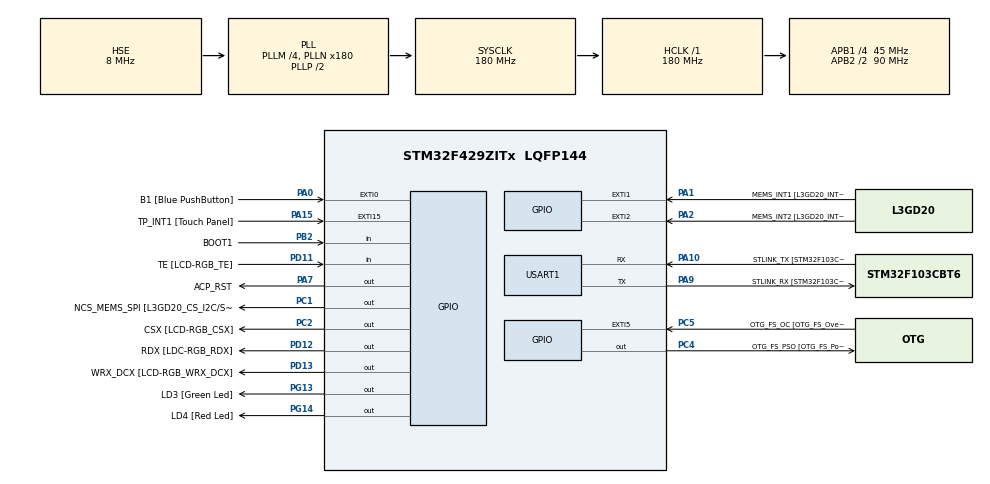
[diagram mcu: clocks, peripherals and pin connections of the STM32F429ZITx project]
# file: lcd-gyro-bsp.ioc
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Mcu.Family=STM32F4
Mcu.Name=STM32F429ZITx
Mcu.Package=LQFP144
NVIC.EXTI0_IRQn=true\:3\:0\:true\:false\:true\:true\:true\:true
NVIC.PriorityGroup=NVIC_PRIORITYGROUP_4
NVIC.TIM3_IRQn=true\:2\:0\:true\:false\:true\:true\:true\:true
NVIC.USART1_IRQn=true\:1\:0\:true\:false\:true\:true\:true\:true
PA0/WKUP.GPIO_Label=B1 [Blue PushButton]
PA0/WKUP.GPIO_ModeDefaultEXTI=GPIO_MODE_IT_RISING
PA0/WKUP.GPIO_PuPd=GPIO_NOPULL
PA0/WKUP.Signal=GPXTI0
PA1.GPIO_Label=MEMS_INT1 [L3GD20_INT1]
PA1.GPIO_ModeDefaultEXTI=GPIO_MODE_EVT_RISING
PA1.GPIO_PuPd=GPIO_NOPULL
PA1.Signal=GPXTI1
PA10.GPIO_Label=STLINK_TX [STM32F103CBT6_PA2]
PA10.Mode=Asynchronous
PA10.Signal=USART1_RX
PA11.GPIO_Label=R4
PA11.GPIO_Mode=GPIO_MODE_AF_PP
PA11.GPIO_PuPd=GPIO_NOPULL
PA11.GPIO_Speed=GPIO_SPEED_FREQ_LOW
PA11.Signal=LTDC_R4
PA12.GPIO_Label=R5
PA12.GPIO_Mode=GPIO_MODE_AF_PP
PA12.GPIO_PuPd=GPIO_NOPULL
PA12.GPIO_Speed=GPIO_SPEED_FREQ_LOW
PA12.Signal=LTDC_R5
PA13.GPIO_Label=SWDIO
PA13.Mode=Serial_Wire
PA13.Signal=SYS_JTMS-SWDIO
PA14.GPIO_Label=SWCLK
PA14.Mode=Serial_Wire
PA14.Signal=SYS_JTCK-SWCLK
PA15.GPIO_Label=TP_INT1 [Touch Panel]
PA15.GPIO_ModeDefaultEXTI=GPIO_MODE_EVT_RISING
PA15.GPIO_PuPd=GPIO_NOPULL
PA15.Signal=GPXTI15
PA2.GPIO_Label=MEMS_INT2 [L3GD20_INT2]
PA2.GPIO_ModeDefaultEXTI=GPIO_MODE_EVT_RISING
PA2.GPIO_PuPd=GPIO_NOPULL
PA2.Signal=GPXTI2
PA3.GPIO_Label=B5
PA3.GPIO_Mode=GPIO_MODE_AF_PP
PA3.GPIO_PuPd=GPIO_NOPULL
PA3.GPIO_Speed=GPIO_SPEED_FREQ_LOW
PA3.Signal=LTDC_B5
PA4.GPIO_Label=VSYNC
PA4.GPIO_Mode=GPIO_MODE_AF_PP
PA4.GPIO_PuPd=GPIO_NOPULL
PA4.GPIO_Speed=GPIO_SPEED_FREQ_LOW
PA4.Signal=LTDC_VSYNC
PA6.GPIO_Label=G2
PA6.GPIO_Mode=GPIO_MODE_AF_PP
PA6.GPIO_PuPd=GPIO_NOPULL
PA6.GPIO_Speed=GPIO_SPEED_FREQ_LOW
PA6.Signal=LTDC_G2
PA7.GPIO_Label=ACP_RST
PA7.GPIO_Mode=GPIO_MODE_OUTPUT_PP
PA7.GPIO_PuPd=GPIO_NOPULL
PA7.GPIO_Speed=GPIO_SPEED_FREQ_LOW
PA7.Signal=GPIO_Output
PA8.GPIO_Label=I2C3_SCL [ACP/RF_SCL]
PA8.GPIO_Mode=GPIO_MODE_AF_OD
PA8.GPIO_PuPd=GPIO_NOPULL
PA8.GPIO_Speed=GPIO_SPEED_FREQ_LOW
PA8.Signal=I2C3_SCL
PA9.GPIO_Label=STLINK_RX [STM32F103CBT6_PA3]
PA9.Mode=Asynchronous
PA9.Signal=USART1_TX
PB0.GPIO_Label=R3
PB0.GPIO_Mode=GPIO_MODE_AF_PP
PB0.GPIO_PuPd=GPIO_NOPULL
PB0.GPIO_Speed=GPIO_SPEED_FREQ_LOW
PB0.Signal=LTDC_R3
PB1.GPIO_Label=R6
PB1.GPIO_Mode=GPIO_MODE_AF_PP
PB1.GPIO_PuPd=GPIO_NOPULL
PB1.GPIO_Speed=GPIO_SPEED_FREQ_LOW
PB1.Signal=LTDC_R6
PB10.GPIO_Label=G4
PB10.GPIO_Mode=GPIO_MODE_AF_PP
PB10.GPIO_PuPd=GPIO_NOPULL
PB10.GPIO_Speed=GPIO_SPEED_FREQ_LOW
PB10.Signal=LTDC_G4
PB11.GPIO_Label=G5
PB11.GPIO_Mode=GPIO_MODE_AF_PP
PB11.GPIO_PuPd=GPIO_NOPULL
PB11.GPIO_Speed=GPIO_SPEED_FREQ_LOW
PB11.Signal=LTDC_G5
PB12.GPIO_Label=OTG_HS_ID
PB12.GPIO_Mode=GPIO_MODE_AF_PP
PB12.GPIO_PuPd=GPIO_NOPULL
PB12.GPIO_Speed=GPIO_SPEED_FREQ_LOW
PB12.Signal=USB_OTG_HS_ID
PB13.GPIO_Label=VBUS_HS
PB13.GPIO_Mode=GPIO_MODE_INPUT
PB13.GPIO_PuPd=GPIO_NOPULL
PB13.Signal=USB_OTG_HS_VBUS
PB14.GPIO_Label=OTG_HS_DM
PB14.GPIO_Mode=GPIO_MODE_AF_PP
PB14.GPIO_PuPd=GPIO_NOPULL
PB14.GPIO_Speed=GPIO_SPEED_FREQ_LOW
PB14.Signal=USB_OTG_HS_DM
PB15.GPIO_Label=OTG_HS_DP
PB15.GPIO_Mode=GPIO_MODE_AF_PP
PB15.GPIO_PuPd=GPIO_NOPULL
PB15.GPIO_Speed=GPIO_SPEED_FREQ_LOW
PB15.Signal=USB_OTG_HS_DP
PB2/BOOT1.GPIO_Label=BOOT1
PB2/BOOT1.GPIO_Mode=GPIO_MODE_INPUT
PB2/BOOT1.GPIO_PuPd=GPIO_NOPULL
PB2/BOOT1.Signal=GPIO_Input
PB5.GPIO_Label=SDCKE1
PB5.GPIO_Mode=GPIO_MODE_AF_PP
PB5.GPIO_PuPd=GPIO_NOPULL
PB5.GPIO_Speed=GPIO_SPEED_FREQ_VERY_HIGH
PB5.Signal=FMC_SDCKE1
PB6.GPIO_Label=SDNE1 [SDRAM_CS]
PB6.GPIO_Mode=GPIO_MODE_AF_PP
PB6.GPIO_PuPd=GPIO_NOPULL
PB6.GPIO_Speed=GPIO_SPEED_FREQ_VERY_HIGH
PB6.Signal=FMC_SDNE1
PB8.GPIO_Label=B6
PB8.GPIO_Mode=GPIO_MODE_AF_PP
PB8.GPIO_PuPd=GPIO_NOPULL
PB8.GPIO_Speed=GPIO_SPEED_FREQ_LOW
PB8.Signal=LTDC_B6
PB9.GPIO_Label=B7
PB9.GPIO_Mode=GPIO_MODE_AF_PP
PB9.GPIO_PuPd=GPIO_NOPULL
PB9.GPIO_Speed=GPIO_SPEED_FREQ_LOW
PB9.Signal=LTDC_B7
PC0.GPIO_Label=SDNWE
PC0.GPIO_Mode=GPIO_MODE_AF_PP
PC0.GPIO_PuPd=GPIO_NOPULL
PC0.GPIO_Speed=GPIO_SPEED_FREQ_VERY_HIGH
PC0.Signal=FMC_SDNWE
PC1.GPIO_Label=NCS_MEMS_SPI [L3GD20_CS_I2C/SPI]
PC1.GPIO_Mode=GPIO_MODE_OUTPUT_PP
PC1.GPIO_PuPd=GPIO_NOPULL
PC1.GPIO_Speed=GPIO_SPEED_FREQ_LOW
PC1.Signal=GPIO_Output
PC10.GPIO_Label=R2
PC10.GPIO_Mode=GPIO_MODE_AF_PP
PC10.GPIO_PuPd=GPIO_NOPULL
PC10.GPIO_Speed=GPIO_SPEED_FREQ_LOW
PC10.Signal=LTDC_R2
PC14/OSC32_IN.GPIO_Label=PC14-OSC32_IN
PC14/OSC32_IN.Signal=RCC_OSC32_IN
PC15/OSC32_OUT.GPIO_Label=PC15-OSC32_OUT
PC15/OSC32_OUT.Signal=RCC_OSC32_OUT
PC2.GPIO_Label=CSX [LCD-RGB_CSX]
PC2.GPIO_Mode=GPIO_MODE_OUTPUT_PP
PC2.GPIO_PuPd=GPIO_NOPULL
PC2.GPIO_Speed=GPIO_SPEED_FREQ_LOW
PC2.Signal=GPIO_Output
PC4.GPIO_Label=OTG_FS_PSO [OTG_FS_PowerSwitchOn]
PC4.GPIO_Mode=GPIO_MODE_OUTPUT_PP
PC4.GPIO_PuPd=GPIO_NOPULL
PC4.GPIO_Speed=GPIO_SPEED_FREQ_LOW
PC4.Signal=GPIO_Output
PC5.GPIO_Label=OTG_FS_OC [OTG_FS_OverCurrent]
PC5.GPIO_ModeDefaultEXTI=GPIO_MODE_EVT_RISING
PC5.Signal=GPXTI5
PC6.GPIO_Label=HSYNC
PC6.GPIO_Mode=GPIO_MODE_AF_PP
PC6.GPIO_PuPd=GPIO_NOPULL
PC6.GPIO_Speed=GPIO_SPEED_FREQ_LOW
PC6.Signal=LTDC_HSYNC
PC7.GPIO_Label=G6
PC7.GPIO_Mode=GPIO_MODE_AF_PP
PC7.GPIO_PuPd=GPIO_NOPULL
PC7.GPIO_Speed=GPIO_SPEED_FREQ_LOW
PC7.Signal=LTDC_G6
PC9.GPIO_Label=I2C3_SDA [ACP/RF_SDA]
PC9.GPIO_Mode=GPIO_MODE_AF_OD
PC9.GPIO_PuPd=GPIO_NOPULL
PC9.GPIO_Speed=GPIO_SPEED_FREQ_LOW
PC9.Signal=I2C3_SDA
PD0.GPIO_Label=D2
PD0.GPIO_Mode=GPIO_MODE_AF_PP
PD0.GPIO_PuPd=GPIO_NOPULL
PD0.GPIO_Speed=GPIO_SPEED_FREQ_VERY_HIGH
PD0.Signal=FMC_D2_DA2
PD1.GPIO_Label=D3
PD1.GPIO_Mode=GPIO_MODE_AF_PP
PD1.GPIO_PuPd=GPIO_NOPULL
PD1.GPIO_Speed=GPIO_SPEED_FREQ_VERY_HIGH
PD1.Signal=FMC_D3_DA3
PD10.GPIO_Label=D15
PD10.GPIO_Mode=GPIO_MODE_AF_PP
PD10.GPIO_PuPd=GPIO_NOPULL
PD10.GPIO_Speed=GPIO_SPEED_FREQ_VERY_HIGH
PD10.Signal=FMC_D15_DA15
PD11.GPIO_Label=TE [LCD-RGB_TE]
PD11.GPIO_Mode=GPIO_MODE_INPUT
PD11.GPIO_PuPd=GPIO_NOPULL
PD11.Signal=GPIO_Input
PD12.GPIO_Label=RDX [LDC-RGB_RDX]
PD12.GPIO_Mode=GPIO_MODE_OUTPUT_PP
PD12.GPIO_PuPd=GPIO_NOPULL
PD12.GPIO_Speed=GPIO_SPEED_FREQ_LOW
PD12.Signal=GPIO_Output
PD13.GPIO_Label=WRX_DCX [LCD-RGB_WRX_DCX]
PD13.GPIO_Mode=GPIO_MODE_OUTPUT_PP
PD13.GPIO_PuPd=GPIO_NOPULL
PD13.GPIO_Speed=GPIO_SPEED_FREQ_LOW
PD13.Signal=GPIO_Output
PD14.GPIO_Label=D0
PD14.GPIO_Mode=GPIO_MODE_AF_PP
PD14.GPIO_PuPd=GPIO_NOPULL
PD14.GPIO_Speed=GPIO_SPEED_FREQ_VERY_HIGH
PD14.Signal=FMC_D0_DA0
PD15.GPIO_Label=D1
PD15.GPIO_Mode=GPIO_MODE_AF_PP
PD15.GPIO_PuPd=GPIO_NOPULL
PD15.GPIO_Speed=GPIO_SPEED_FREQ_VERY_HIGH
PD15.Signal=FMC_D1_DA1
PD3.GPIO_Label=G7
PD3.GPIO_Mode=GPIO_MODE_AF_PP
PD3.GPIO_PuPd=GPIO_NOPULL
PD3.GPIO_Speed=GPIO_SPEED_FREQ_LOW
PD3.Signal=LTDC_G7
PD6.GPIO_Label=B2
PD6.GPIO_Mode=GPIO_MODE_AF_PP
PD6.GPIO_PuPd=GPIO_NOPULL
PD6.GPIO_Speed=GPIO_SPEED_FREQ_LOW
PD6.Signal=LTDC_B2
PD8.GPIO_Label=D13
PD8.GPIO_Mode=GPIO_MODE_AF_PP
PD8.GPIO_PuPd=GPIO_NOPULL
PD8.GPIO_Speed=GPIO_SPEED_FREQ_VERY_HIGH
PD8.Signal=FMC_D13_DA13
PD9.GPIO_Label=D14
PD9.GPIO_Mode=GPIO_MODE_AF_PP
PD9.GPIO_PuPd=GPIO_NOPULL
PD9.GPIO_Speed=GPIO_SPEED_FREQ_VERY_HIGH
PD9.Signal=FMC_D14_DA14
PE0.GPIO_Label=NBL0 [SDRAM_LDQM]
PE0.GPIO_Mode=GPIO_MODE_AF_PP
PE0.GPIO_PuPd=GPIO_NOPULL
PE0.GPIO_Speed=GPIO_SPEED_FREQ_VERY_HIGH
PE0.Signal=FMC_NBL0
PE1.GPIO_Label=NBL1 [SDRAM_UDQM]
PE1.GPIO_Mode=GPIO_MODE_AF_PP
PE1.GPIO_PuPd=GPIO_NOPULL
PE1.GPIO_Speed=GPIO_SPEED_FREQ_VERY_HIGH
PE1.Signal=FMC_NBL1
PE10.GPIO_Label=D7
PE10.GPIO_Mode=GPIO_MODE_AF_PP
PE10.GPIO_PuPd=GPIO_NOPULL
PE10.GPIO_Speed=GPIO_SPEED_FREQ_VERY_HIGH
PE10.Signal=FMC_D7_DA7
PE11.GPIO_Label=D8
PE11.GPIO_Mode=GPIO_MODE_AF_PP
PE11.GPIO_PuPd=GPIO_NOPULL
PE11.GPIO_Speed=GPIO_SPEED_FREQ_VERY_HIGH
PE11.Signal=FMC_D8_DA8
PE12.GPIO_Label=D9
PE12.GPIO_Mode=GPIO_MODE_AF_PP
PE12.GPIO_PuPd=GPIO_NOPULL
PE12.GPIO_Speed=GPIO_SPEED_FREQ_VERY_HIGH
PE12.Signal=FMC_D9_DA9
PE13.GPIO_Label=D10
PE13.GPIO_Mode=GPIO_MODE_AF_PP
PE13.GPIO_PuPd=GPIO_NOPULL
PE13.GPIO_Speed=GPIO_SPEED_FREQ_VERY_HIGH
PE13.Signal=FMC_D10_DA10
PE14.GPIO_Label=D11
PE14.GPIO_Mode=GPIO_MODE_AF_PP
PE14.GPIO_PuPd=GPIO_NOPULL
PE14.GPIO_Speed=GPIO_SPEED_FREQ_VERY_HIGH
PE14.Signal=FMC_D11_DA11
PE15.GPIO_Label=D12
PE15.GPIO_Mode=GPIO_MODE_AF_PP
PE15.GPIO_PuPd=GPIO_NOPULL
PE15.GPIO_Speed=GPIO_SPEED_FREQ_VERY_HIGH
PE15.Signal=FMC_D12_DA12
PE7.GPIO_Label=D4
PE7.GPIO_Mode=GPIO_MODE_AF_PP
PE7.GPIO_PuPd=GPIO_NOPULL
PE7.GPIO_Speed=GPIO_SPEED_FREQ_VERY_HIGH
PE7.Signal=FMC_D4_DA4
PE8.GPIO_Label=D5
PE8.GPIO_Mode=GPIO_MODE_AF_PP
PE8.GPIO_PuPd=GPIO_NOPULL
PE8.GPIO_Speed=GPIO_SPEED_FREQ_VERY_HIGH
PE8.Signal=FMC_D5_DA5
PE9.GPIO_Label=D6
PE9.GPIO_Mode=GPIO_MODE_AF_PP
PE9.GPIO_PuPd=GPIO_NOPULL
PE9.GPIO_Speed=GPIO_SPEED_FREQ_VERY_HIGH
PE9.Signal=FMC_D6_DA6
PF0.GPIO_Label=A0
PF0.GPIO_Mode=GPIO_MODE_AF_PP
PF0.GPIO_PuPd=GPIO_NOPULL
PF0.GPIO_Speed=GPIO_SPEED_FREQ_VERY_HIGH
PF0.Signal=FMC_A0
PF1.GPIO_Label=A1
PF1.GPIO_Mode=GPIO_MODE_AF_PP
PF1.GPIO_PuPd=GPIO_NOPULL
PF1.GPIO_Speed=GPIO_SPEED_FREQ_VERY_HIGH
PF1.Signal=FMC_A1
PF10.GPIO_Label=ENABLE [LCD-RGB_ENABLE]
PF10.GPIO_Mode=GPIO_MODE_AF_PP
PF10.GPIO_PuPd=GPIO_NOPULL
PF10.GPIO_Speed=GPIO_SPEED_FREQ_LOW
PF10.Signal=LTDC_DE
PF11.GPIO_Label=SDNRAS
PF11.GPIO_Mode=GPIO_MODE_AF_PP
PF11.GPIO_PuPd=GPIO_NOPULL
PF11.GPIO_Speed=GPIO_SPEED_FREQ_VERY_HIGH
PF11.Signal=FMC_SDNRAS
PF12.GPIO_Label=A6
PF12.GPIO_Mode=GPIO_MODE_AF_PP
PF12.GPIO_PuPd=GPIO_NOPULL
PF12.GPIO_Speed=GPIO_SPEED_FREQ_VERY_HIGH
PF12.Signal=FMC_A6
PF13.GPIO_Label=A7
PF13.GPIO_Mode=GPIO_MODE_AF_PP
PF13.GPIO_PuPd=GPIO_NOPULL
PF13.GPIO_Speed=GPIO_SPEED_FREQ_VERY_HIGH
PF13.Signal=FMC_A7
PF14.GPIO_Label=A8
PF14.GPIO_Mode=GPIO_MODE_AF_PP
PF14.GPIO_PuPd=GPIO_NOPULL
PF14.GPIO_Speed=GPIO_SPEED_FREQ_VERY_HIGH
PF14.Signal=FMC_A8
PF15.GPIO_Label=A9
PF15.GPIO_Mode=GPIO_MODE_AF_PP
PF15.GPIO_PuPd=GPIO_NOPULL
PF15.GPIO_Speed=GPIO_SPEED_FREQ_VERY_HIGH
PF15.Signal=FMC_A9
PF2.GPIO_Label=A2
PF2.GPIO_Mode=GPIO_MODE_AF_PP
PF2.GPIO_PuPd=GPIO_NOPULL
PF2.GPIO_Speed=GPIO_SPEED_FREQ_VERY_HIGH
PF2.Signal=FMC_A2
PF3.GPIO_Label=A3
PF3.GPIO_Mode=GPIO_MODE_AF_PP
PF3.GPIO_PuPd=GPIO_NOPULL
PF3.GPIO_Speed=GPIO_SPEED_FREQ_VERY_HIGH
PF3.Signal=FMC_A3
PF4.GPIO_Label=A4
PF4.GPIO_Mode=GPIO_MODE_AF_PP
PF4.GPIO_PuPd=GPIO_NOPULL
PF4.GPIO_Speed=GPIO_SPEED_FREQ_VERY_HIGH
PF4.Signal=FMC_A4
PF5.GPIO_Label=A5
PF5.GPIO_Mode=GPIO_MODE_AF_PP
PF5.GPIO_PuPd=GPIO_NOPULL
PF5.GPIO_Speed=GPIO_SPEED_FREQ_VERY_HIGH
PF5.Signal=FMC_A5
PF7.GPIO_Label=SPI5_SCK [L3GD20_SCL/SPC]
PF7.GPIO_Mode=GPIO_MODE_AF_PP
PF7.GPIO_PuPd=GPIO_NOPULL
PF7.GPIO_Speed=GPIO_SPEED_FREQ_LOW
PF7.Signal=SPI5_SCK
PF8.GPIO_Label=SPI5_MISO [L3GD20_SDO]
PF8.GPIO_Mode=GPIO_MODE_AF_PP
PF8.GPIO_PuPd=GPIO_NOPULL
PF8.GPIO_Speed=GPIO_SPEED_FREQ_LOW
PF8.Signal=SPI5_MISO
PF9.GPIO_Label=SPI5_MOSI [L3GD20_SDA/SDI/SDO]
PF9.GPIO_Mode=GPIO_MODE_AF_PP
PF9.GPIO_PuPd=GPIO_NOPULL
PF9.GPIO_Speed=GPIO_SPEED_FREQ_LOW
PF9.Signal=SPI5_MOSI
PG0.GPIO_Label=A10
PG0.GPIO_Mode=GPIO_MODE_AF_PP
PG0.GPIO_PuPd=GPIO_NOPULL
PG0.GPIO_Speed=GPIO_SPEED_FREQ_VERY_HIGH
PG0.Signal=FMC_A10
PG1.GPIO_Label=A11
PG1.GPIO_Mode=GPIO_MODE_AF_PP
PG1.GPIO_PuPd=GPIO_NOPULL
PG1.GPIO_Speed=GPIO_SPEED_FREQ_VERY_HIGH
PG1.Signal=FMC_A11
PG10.GPIO_Label=G3
PG10.GPIO_Mode=GPIO_MODE_AF_PP
PG10.GPIO_PuPd=GPIO_NOPULL
PG10.GPIO_Speed=GPIO_SPEED_FREQ_LOW
PG10.Signal=LTDC_G3
PG11.GPIO_Label=B3
PG11.GPIO_Mode=GPIO_MODE_AF_PP
PG11.GPIO_PuPd=GPIO_NOPULL
PG11.GPIO_Speed=GPIO_SPEED_FREQ_LOW
PG11.Signal=LTDC_B3
PG12.GPIO_Label=B4
PG12.GPIO_Mode=GPIO_MODE_AF_PP
PG12.GPIO_PuPd=GPIO_NOPULL
PG12.GPIO_Speed=GPIO_SPEED_FREQ_LOW
PG12.Signal=LTDC_B4
PG13.GPIO_Label=LD3 [Green Led]
PG13.GPIO_Mode=GPIO_MODE_OUTPUT_PP
PG13.GPIO_PuPd=GPIO_NOPULL
PG13.GPIO_Speed=GPIO_SPEED_FREQ_LOW
PG13.Signal=GPIO_Output
PG14.GPIO_Label=LD4 [Red Led]
PG14.GPIO_Mode=GPIO_MODE_OUTPUT_PP
PG14.GPIO_PuPd=GPIO_NOPULL
PG14.GPIO_Speed=GPIO_SPEED_FREQ_LOW
PG14.Signal=GPIO_Output
PG15.GPIO_Label=SDNCAS
PG15.GPIO_Mode=GPIO_MODE_AF_PP
PG15.GPIO_PuPd=GPIO_NOPULL
PG15.GPIO_Speed=GPIO_SPEED_FREQ_VERY_HIGH
PG15.Signal=FMC_SDNCAS
PG4.GPIO_Label=BA0
PG4.GPIO_Mode=GPIO_MODE_AF_PP
PG4.GPIO_PuPd=GPIO_NOPULL
PG4.GPIO_Speed=GPIO_SPEED_FREQ_VERY_HIGH
PG4.Signal=FMC_A14_BA0
PG5.GPIO_Label=BA1
PG5.GPIO_Mode=GPIO_MODE_AF_PP
PG5.GPIO_PuPd=GPIO_NOPULL
PG5.GPIO_Speed=GPIO_SPEED_FREQ_VERY_HIGH
PG5.Signal=FMC_A15_BA1
PG6.GPIO_Label=R7
PG6.GPIO_Mode=GPIO_MODE_AF_PP
PG6.GPIO_PuPd=GPIO_NOPULL
PG6.GPIO_Speed=GPIO_SPEED_FREQ_LOW
PG6.Signal=LTDC_R7
PG7.GPIO_Label=DOTCLK [LCT-RGB_DOTCLK]
PG7.GPIO_Mode=GPIO_MODE_AF_PP
PG7.GPIO_PuPd=GPIO_NOPULL
PG7.GPIO_Speed=GPIO_SPEED_FREQ_LOW
PG7.Signal=LTDC_CLK
PG8.GPIO_Label=SDCLK
PG8.GPIO_Mode=GPIO_MODE_AF_PP
PG8.GPIO_PuPd=GPIO_NOPULL
PG8.GPIO_Speed=GPIO_SPEED_FREQ_VERY_HIGH
PG8.Signal=FMC_SDCLK
PH0/OSC_IN.GPIO_Label=PH0-OSC_IN
PH0/OSC_IN.Mode=HSE-External-Clock-Source
PH0/OSC_IN.Signal=RCC_OSC_IN
PH1/OSC_OUT.GPIO_Label=PH1-OSC_OUT
PH1/OSC_OUT.Mode=HSE-External-Clock-Source
PH1/OSC_OUT.Signal=RCC_OSC_OUT
ProjectManager.HeapSize=0x200
ProjectManager.StackSize=0x400
ProjectManager.TargetToolchain=STM32CubeIDE
RCC.48MHZClocksFreq_Value=51428571.428571425
RCC.AHBFreq_Value=180000000
RCC.APB1CLKDivider=RCC_HCLK_DIV4
RCC.APB1Freq_Value=45000000
RCC.APB1TimFreq_Value=90000000
RCC.APB2CLKDivider=RCC_HCLK_DIV2
RCC.APB2Freq_Value=90000000
RCC.APB2TimFreq_Value=180000000
RCC.CortexFreq_Value=180000000
RCC.HCLKFreq_Value=180000000
RCC.HSE_VALUE=8000000
RCC.HSI_VALUE=16000000
RCC.LSE_VALUE=32768
RCC.PLLM=4
RCC.PLLN=180
RCC.PLLQ=7
RCC.PLLSourceVirtual=RCC_PLLSOURCE_HSE
RCC.SYSCLKFreq_VALUE=180000000
RCC.SYSCLKSource=RCC_SYSCLKSOURCE_PLLCLK
RCC.VCOOutputFreq_Value=360000000
SH.FMC_A0.0=FMC_A0
SH.FMC_A1.0=FMC_A1
SH.FMC_A10.0=FMC_A10
SH.FMC_A11.0=FMC_A11
SH.FMC_A14_BA0.0=FMC_BA0
SH.FMC_A15_BA1.0=FMC_BA1
SH.FMC_A2.0=FMC_A2
SH.FMC_A3.0=FMC_A3
SH.FMC_A4.0=FMC_A4
SH.FMC_A5.0=FMC_A5
SH.FMC_A6.0=FMC_A6
SH.FMC_A7.0=FMC_A7
SH.FMC_A8.0=FMC_A8
SH.FMC_A9.0=FMC_A9
SH.FMC_D0_DA0.0=FMC_D0
SH.FMC_D10_DA10.0=FMC_D10
SH.FMC_D11_DA11.0=FMC_D11
SH.FMC_D12_DA12.0=FMC_D12
SH.FMC_D13_DA13.0=FMC_D13
SH.FMC_D14_DA14.0=FMC_D14
SH.FMC_D15_DA15.0=FMC_D15
SH.FMC_D1_DA1.0=FMC_D1
SH.FMC_D2_DA2.0=FMC_D2
SH.FMC_D3_DA3.0=FMC_D3
SH.FMC_D4_DA4.0=FMC_D4
SH.FMC_D5_DA5.0=FMC_D5
SH.FMC_D6_DA6.0=FMC_D6
SH.FMC_D7_DA7.0=FMC_D7
SH.FMC_D8_DA8.0=FMC_D8
SH.FMC_D9_DA9.0=FMC_D9
SH.FMC_NBL0.0=FMC_NBL0
SH.FMC_NBL1.0=FMC_NBL1
SH.FMC_SDCLK.0=FMC_SDCLK
SH.FMC_SDNCAS.0=FMC_SDNCAS
SH.FMC_SDNRAS.0=FMC_SDNRAS
SH.FMC_SDNWE.0=FMC_SDNWE
TIM3.AutoReloadPreload=TIM_AUTORELOAD_PRELOAD_ENABLE
TIM3.Period=9999
TIM3.Prescaler=8999
USART1.VirtualMode=VM_ASYNC
VP_TIM3_VS_ClockSourceINT.Mode=Internal
board=STM32F429I-DISC1

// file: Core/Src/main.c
/* USER CODE BEGIN Header */
/**
  ******************************************************************************
  * @file           : main.c
  * @brief          : Main program body
  ******************************************************************************
  * @attention
  *
  * Copyright (c) 2026 STMicroelectronics.
  * All rights reserved.
  *
  * This software is licensed under terms that can be found in the LICENSE file
  * in the root directory of this software component.
  * If no LICENSE file comes with this software, it is provided AS-IS.
  *
  ******************************************************************************
  */
/* USER CODE END Header */
#include "main.h"
#include "tim.h"
#include "usart.h"
#include "gpio.h"

/* USER CODE BEGIN Includes */
#include <stdio.h>
#include <string.h>
#include "stm32f429i_discovery.h"
#include "stm32f429i_discovery_lcd.h"
/* USER CODE END Includes */

/* USER CODE BEGIN PD */
// Cac thanh ghi cho Gyro
#define L3GD20_CTRL_REG1_ADDR 0x20
#define L3GD20_OUT_X_L_ADDR   0x28

// Thoi gian lam moi man hinh
#define LCD_REFRESH_MS 50
/* USER CODE END PD */

/* USER CODE BEGIN PV */
volatile uint32_t uptime_seconds = 0;
uint32_t last_lcd_update = 0;

volatile uint8_t current_screen = 0; // 0 = Text, 1 = Bubble Level
volatile uint8_t screen_changed = 0;
int16_t old_bubble_x = 120;
int16_t old_bubble_y = 160;

// Cac handle ngoai vi
extern TIM_HandleTypeDef htim3;
extern UART_HandleTypeDef huart1;
/* USER CODE END PV */

void SystemClock_Config(void);
/* USER CODE BEGIN PFP */
// dinh nghia ham IO cua BSP Gyro trong stm32f429i_discovery.c
extern void    GYRO_IO_Init(void);
extern void    GYRO_IO_Write(uint8_t *pBuffer, uint8_t WriteAddr, uint16_t NumByteToWrite);
extern void    GYRO_IO_Read(uint8_t *pBuffer, uint8_t ReadAddr, uint16_t NumByteToRead);

void L3GD20_Init(void);
void L3GD20_ReadXYZ(int16_t *x, int16_t *y, int16_t *z);
void UI_DrawStaticLayout(void);
void UI_DrawBubbleLayout(void);
/* USER CODE END PFP */

/* USER CODE BEGIN 0 */
/**
  * Khoi tao cam bie L3GD20 bang cac ham BSP IO
  *
  */
void L3GD20_Init(void) {
	// 1. Khoi tao bus SPI5 va chan CS (PC1) thong qua BSP
	GYRO_IO_Init();

	// 2. Ghi thanh ghi CTRL_REG1 (bat nguon va cac truc X, Y, Z)
	uint8_t ctrl1 = 0x0F; // PD=1, Xen=1, Yen=1, Zen=1
	GYRO_IO_Write(&ctrl1, L3GD20_CTRL_REG1_ADDR, 1);
}

/**
  * Doc 3 truc tu cam bien L3GD20
  */
void L3GD20_ReadXYZ(int16_t *x, int16_t *y, int16_t *z) {
	uint8_t buffer[6];

	// Doc 6 byte lien tiep bat dau tu OUT_X_L.
	// Tu OR bit Doc (0x80) va Doc nhieu (0x40) = 0xC0 */
	GYRO_IO_Read(buffer, (L3GD20_OUT_X_L_ADDR | 0xC0), 6);

	*x = (int16_t) ((buffer[1] << 8) | buffer[0]);
	*y = (int16_t) ((buffer[3] << 8) | buffer[2]);
	*z = (int16_t) ((buffer[5] << 8) | buffer[4]);
}

/**
  * Ve khung giao dien tinh (chi ve 1 lan luc startup)
  */
void UI_DrawStaticLayout(void) {
	BSP_LCD_Clear(LCD_COLOR_BLACK);

	BSP_LCD_SetTextColor(LCD_COLOR_ORANGE);
	BSP_LCD_SetBackColor(LCD_COLOR_BLACK);
	BSP_LCD_SetFont(&Font20);

	BSP_LCD_DisplayStringAt(0, 10, (uint8_t*) "STM32 GYROSCOPE", CENTER_MODE);

	BSP_LCD_SetTextColor(LCD_COLOR_WHITE);
	BSP_LCD_DrawHLine(10, 35, 220);

	BSP_LCD_SetFont(&Font16);
	BSP_LCD_SetTextColor(LCD_COLOR_LIGHTBLUE);
	BSP_LCD_DisplayStringAt(10, 60, (uint8_t*) "AXIS X:", LEFT_MODE);
	BSP_LCD_DisplayStringAt(10, 100, (uint8_t*) "AXIS Y:", LEFT_MODE);
	BSP_LCD_DisplayStringAt(10, 140, (uint8_t*) "AXIS Z:", LEFT_MODE);

	BSP_LCD_DrawHLine(10, 180, 220);
	BSP_LCD_DisplayStringAt(10, 200, (uint8_t*) "UPTIME:", LEFT_MODE);
}

/*
  * Ve giao dien bot nuoc (Bubble Level)
  */
void UI_DrawBubbleLayout(void) {
	BSP_LCD_Clear(LCD_COLOR_BLACK);

	BSP_LCD_SetTextColor(LCD_COLOR_YELLOW);
	BSP_LCD_SetBackColor(LCD_COLOR_BLACK);
	BSP_LCD_SetFont(&Font20);
	BSP_LCD_DisplayStringAt(0, 10, (uint8_t*)"BUBBLE LEVEL", CENTER_MODE);

	BSP_LCD_SetTextColor(LCD_COLOR_WHITE);
	// Ve vong tron tam
	BSP_LCD_DrawCircle(120, 160, 80);
	BSP_LCD_DrawCircle(120, 160, 20);

	// Ve truc chu thap
	BSP_LCD_DrawVLine(120, 50, 220);
	BSP_LCD_DrawHLine(20, 160, 200);
}

/**
  * Ngat Timer 1s (Hardware timebase)
  */
void HAL_TIM_PeriodElapsedCallback(TIM_HandleTypeDef *htim) {
	if (htim->Instance == TIM3) {
		uptime_seconds++;
	}
}

/**
  * Ngat nut nhan USER (PA0)
  */
void HAL_GPIO_EXTI_Callback(uint16_t GPIO_Pin) {
	if (GPIO_Pin == GPIO_PIN_0) {
		current_screen = !current_screen; // Toggle screen
		screen_changed = 1;
	}
}

/* USER CODE END 0 */

int main(void)
{

  /* MCU Configuration--------------------------------------------------------*/

  /* Reset of all peripherals, Initializes the Flash interface and the Systick. */
  HAL_Init();

  /* Configure the system clock */
  SystemClock_Config();

  /* Initialize all configured peripherals */
  MX_GPIO_Init();
  MX_TIM3_Init();
  MX_USART1_UART_Init();
  /* USER CODE BEGIN 2 */
  /* -------------------------------------------------------------
       Khởi tạo hiển thị LCD và SDRAM thông qua bộ BSP
       Lưu ý: Không khởi tạo SPI5, LTDC, FMC bằng CubeMX ở trên.
       Hàm BSP_LCD_Init() sẽ tự động gọi các HAL_..._MspInit trong stm32f429i_discovery.c
       ------------------------------------------------------------- */
  BSP_LCD_Init();

    // Bat Layer 1 (Background) va tro bo dem toi SDRAM
    BSP_LCD_LayerDefaultInit(1, 0xD0000000); // 0xD0000000 = LCD_FRAME_BUFFER
    BSP_LCD_SelectLayer(1);

    // Ve giao dien tinh
    UI_DrawStaticLayout();

    // Khoi tao cam bien Gyro
    L3GD20_Init();

    // bat Timer 1s
    HAL_TIM_Base_Start_IT(&htim3);

    printf("System initialized. LCD & Gyro ready.\r\n");
  /* USER CODE END 2 */

  /* Infinite loop */
  /* USER CODE BEGIN WHILE */
	char str_buf[64];
	float bubble_xf = 120.0f;
	float bubble_yf = 160.0f;

  while (1)
  {
		// Cap nhat LCD o tan so dinh truoc
		if ((HAL_GetTick() - last_lcd_update) >= LCD_REFRESH_MS) {
			last_lcd_update = HAL_GetTick();

			// Kiem tra neu co su kien bam nut chuyen man hinh
			if (screen_changed) {
				screen_changed = 0;
				if (current_screen == 0) {
					UI_DrawStaticLayout();
				} else {
					UI_DrawBubbleLayout();
					// Reset bot nuoc ve giua
					bubble_xf = 120.0f;
					bubble_yf = 160.0f;
					old_bubble_x = 120;
					old_bubble_y = 160;
				}
			}

			int16_t gx, gy, gz;
			L3GD20_ReadXYZ(&gx, &gy, &gz);

			if (current_screen == 0) {
				// ==============================
				// MAN HINH 0: TEXT GYROSCOPE
				// ==============================
				BSP_LCD_SetTextColor(LCD_COLOR_GREEN);
				BSP_LCD_SetBackColor(LCD_COLOR_BLACK);
				BSP_LCD_SetFont(&Font16);

				sprintf(str_buf, "%6d dps", gx);
				BSP_LCD_DisplayStringAt(90, 60, (uint8_t*) str_buf, LEFT_MODE);

				sprintf(str_buf, "%6d dps", gy);
				BSP_LCD_DisplayStringAt(90, 100, (uint8_t*) str_buf, LEFT_MODE);

				sprintf(str_buf, "%6d dps", gz);
				BSP_LCD_DisplayStringAt(90, 140, (uint8_t*) str_buf, LEFT_MODE);

				BSP_LCD_SetTextColor(LCD_COLOR_YELLOW);
				sprintf(str_buf, "%6lu s", uptime_seconds);
				BSP_LCD_DisplayStringAt(90, 200, (uint8_t*) str_buf, LEFT_MODE);

			} else if (current_screen == 1) {
				// ==============================
				// MAN HINH 1: BUBBLE LEVEL
				// ==============================
				// 1. Xoa bot nuoc cu bang cach ve hinh tron mau den len toa do cu
				BSP_LCD_SetTextColor(LCD_COLOR_BLACK);
				BSP_LCD_FillCircle(old_bubble_x, old_bubble_y, 10);

				// Ve lai truc chu thap o cho bot nuoc cu vua xoa (tranh bi dut net)
				BSP_LCD_SetTextColor(LCD_COLOR_WHITE);
				BSP_LCD_DrawVLine(120, 50, 220);
				BSP_LCD_DrawHLine(20, 160, 200);
				BSP_LCD_DrawCircle(120, 160, 80);
				BSP_LCD_DrawCircle(120, 160, 20);

				// 2. Tinh toan toa do moi (dung gia tri van toc goc nhu luc day, tu tu quay ve tam)
				// Scale gy -> X, gx -> Y. Giam scale de bot nhay
				bubble_xf += (gy / 400.0f);
				bubble_yf += (gx / 400.0f);

				// Decay (Gia lap luc can ve tam khi ngung quay)
				bubble_xf = bubble_xf * 0.95f + 120.0f * 0.05f;
				bubble_yf = bubble_yf * 0.95f + 160.0f * 0.05f;

				// Gioi han khong cho bot nuoc chay ra khoi man hinh
				if (bubble_xf < 15)
					bubble_xf = 15;
				if (bubble_xf > 225)
					bubble_xf = 225;
				if (bubble_yf < 40)
					bubble_yf = 40;
				if (bubble_yf > 280)
					bubble_yf = 280;

				int16_t new_x = (int16_t) bubble_xf;
				int16_t new_y = (int16_t) bubble_yf;

				// 3. Ve bot nuoc o vi tri moi
				BSP_LCD_SetTextColor(LCD_COLOR_RED);
				BSP_LCD_FillCircle(new_x, new_y, 10);

				// 4. Luu lai toa do de xoa o vong lap sau
				old_bubble_x = new_x;
				old_bubble_y = new_y;
			}

			// Log ra UART
			printf("X:%d Y:%d Z:%d\r\n", gx, gy, gz);
		}
    /* USER CODE END WHILE */

  }
}

void SystemClock_Config(void)
{
  RCC_OscInitTypeDef RCC_OscInitStruct = {0};
  RCC_ClkInitTypeDef RCC_ClkInitStruct = {0};

  /** Configure the main internal regulator output voltage
  */
  __HAL_RCC_PWR_CLK_ENABLE();
  __HAL_PWR_VOLTAGESCALING_CONFIG(PWR_REGULATOR_VOLTAGE_SCALE1);

  /** Initializes the RCC Oscillators according to the specified parameters
  * in the RCC_OscInitTypeDef structure.
  */
  RCC_OscInitStruct.OscillatorType = RCC_OSCILLATORTYPE_HSE;
  RCC_OscInitStruct.HSEState = RCC_HSE_BYPASS;
  RCC_OscInitStruct.PLL.PLLState = RCC_PLL_ON;
  RCC_OscInitStruct.PLL.PLLSource = RCC_PLLSOURCE_HSE;
  RCC_OscInitStruct.PLL.PLLM = 4;
  RCC_OscInitStruct.PLL.PLLN = 180;
  RCC_OscInitStruct.PLL.PLLP = RCC_PLLP_DIV2;
  RCC_OscInitStruct.PLL.PLLQ = 7;
  if (HAL_RCC_OscConfig(&RCC_OscInitStruct) != HAL_OK)
  {
    Error_Handler();
  }

  /** Activate the Over-Drive mode
  */
  if (HAL_PWREx_EnableOverDrive() != HAL_OK)
  {
    Error_Handler();
  }

  /** Initializes the CPU, AHB and APB buses clocks
  */
  RCC_ClkInitStruct.ClockType = RCC_CLOCKTYPE_HCLK|RCC_CLOCKTYPE_SYSCLK
                              |RCC_CLOCKTYPE_PCLK1|RCC_CLOCKTYPE_PCLK2;
  RCC_ClkInitStruct.SYSCLKSource = RCC_SYSCLKSOURCE_PLLCLK;
  RCC_ClkInitStruct.AHBCLKDivider = RCC_SYSCLK_DIV1;
  RCC_ClkInitStruct.APB1CLKDivider = RCC_HCLK_DIV4;
  RCC_ClkInitStruct.APB2CLKDivider = RCC_HCLK_DIV2;

  if (HAL_RCC_ClockConfig(&RCC_ClkInitStruct, FLASH_LATENCY_5) != HAL_OK)
  {
    Error_Handler();
  }
}

/* USER CODE BEGIN 4 */
#ifdef __GNUC__
#define PUTCHAR_PROTOTYPE int __io_putchar(int ch)
#else
#define PUTCHAR_PROTOTYPE int fputc(int ch, FILE *f)
#endif
PUTCHAR_PROTOTYPE {
	HAL_UART_Transmit(&huart1, (uint8_t*) &ch, 1, HAL_MAX_DELAY);
	return ch;
}
/* USER CODE END 4 */

void Error_Handler(void)
{
  __disable_irq();
  while (1)
  {
  }
}
